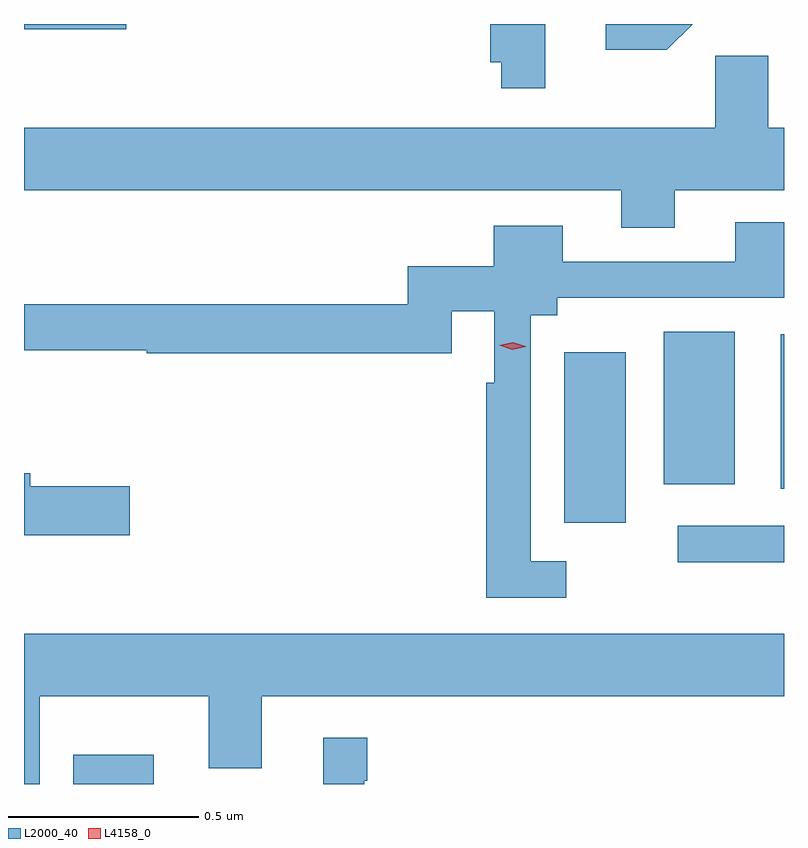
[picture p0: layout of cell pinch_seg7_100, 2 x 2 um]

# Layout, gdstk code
import gdstk
lib = gdstk.Library(unit=1e-6, precision=1e-09)
def R(c, l, rs):  # rectangles x0, y0, x1, y1
    for r in rs: c.add(gdstk.rectangle(r[:2], r[2:], *l))
def P(c, l, *ps):  # polygons
    for p in ps: c.add(gdstk.Polygon(p, *l))
L2000_40 = (2000, 40)
L4158_0 = (4158, 0)

pinch_seg7_100 = lib.new_cell('pinch_seg7_100')
R(pinch_seg7_100, L2000_40, [(941.03,1016.369,941.242,1016.446), (942.621,1016.952,942.901,1017.048), (942.323,1017.057,942.484,1017.505), (942.893,1017.146,942.901,1017.553), (942.584,1017.158,942.772,1017.559), (940.901,1018.355,941.17,1018.369)])
P(pinch_seg7_100, L2000_40, [(942.273,1018.369),(942.128,1018.369),(942.128,1018.268),(942.157,1018.268),(942.157,1018.2),(942.273,1018.2)],
  [(942.661,1018.369),(942.432,1018.369),(942.432,1018.301),(942.593,1018.301)],
  [(942.613,1017.932),(942.901,1017.932),(942.901,1018.096),(942.859,1018.096),(942.859,1018.286),(942.72,1018.286),(942.72,1018.096),(940.901,1018.096),(940.901,1017.932),(942.473,1017.932),(942.473,1017.833),(942.613,1017.833)],
  [(942.328,1016.955),(942.234,1016.955),(942.234,1017.602),(942.304,1017.602),(942.304,1017.648),(942.901,1017.648),(942.901,1017.847),(942.773,1017.847),(942.773,1017.744),(942.319,1017.744),(942.319,1017.838),(942.137,1017.838),(942.137,1017.731),(941.911,1017.731),(941.911,1017.631),(940.901,1017.631),(940.901,1017.51),(941.224,1017.51),(941.224,1017.502),(942.027,1017.502),(942.027,1017.613),(942.138,1017.613),(942.138,1017.425),(942.118,1017.425),(942.118,1016.859),(942.328,1016.859)],
  [(941.179,1017.153),(940.918,1017.153),(940.918,1017.187),(940.901,1017.187),(940.901,1017.023),(941.179,1017.023)],
  [(940.942,1016.6),(941.387,1016.6),(941.387,1016.411),(941.527,1016.411),(941.527,1016.6),(942.901,1016.6),(942.901,1016.764),(940.901,1016.764),(940.901,1016.369),(940.942,1016.369)],
  [(941.797,1016.378),(941.804,1016.378),(941.804,1016.491),(941.688,1016.491),(941.688,1016.369),(941.797,1016.369)])
P(pinch_seg7_100, L4158_0, [(942.186,1017.512),(942.152,1017.523),(942.151,1017.523),(942.152,1017.523),(942.187,1017.532),(942.222,1017.521),(942.222,1017.52),(942.222,1017.52)])

lib.write_gds('pinch_seg7_100.gds')
